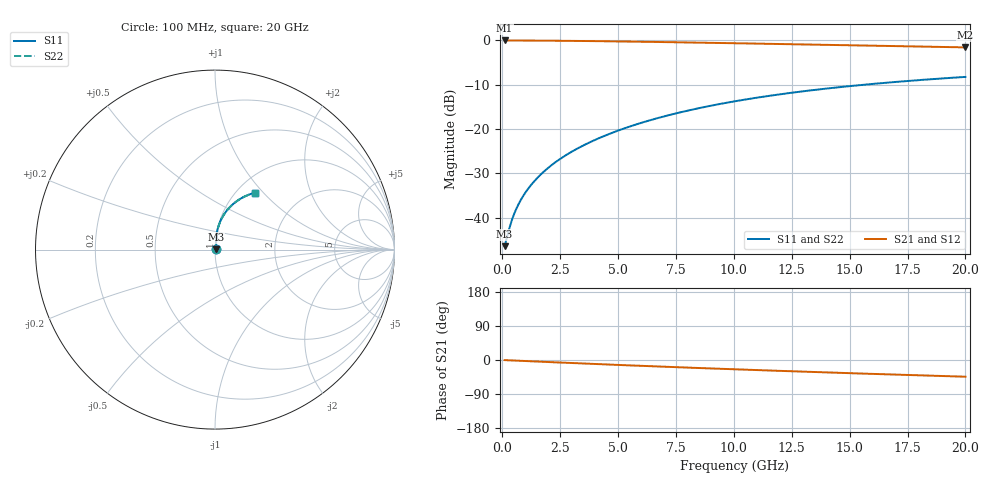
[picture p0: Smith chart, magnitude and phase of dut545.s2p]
! Touchstone file exported from HFSS 2024.1.0
!  File:  C:/UserFiles/LocalFiles/RDL_TSV_Batchsim/temp_RDL_bottom_545_1779689105.aedt
!  Generated:  02:07:57 PM May 25, 2026
!  Design:  RDL_bottom
!  Project:  temp_RDL_bottom_545_1779689105
!  Setup:  Setup1
!  Solution:  Sweep
! Variables:
!  dtsv = 10.80580581um
!  hbump = 3um
!  htsv = 91.96um
!  ldown = 595.62um
!  lrdl = 100um
!  p = 40
!  p1 = 56.54um
!  rhole = 1um
!  t = 450um
!  tdown = 2.04um
!  trdl = 3.915915916um
!  wdown = 26.02um
!  wrdl = 20um
# GHz S MA R 50.000000
! Terminal data exported
! Port[1] = RDL1_T1
! Port[2] = RDL1_T2
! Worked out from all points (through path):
!   200 points, 100 MHz to 20 GHz, reference 50 ohm
!   highest |S21| = -0.04 dB at 100 MHz (marker M1); lowest = -1.6 dB at 20 GHz (marker M2)
!   group delay of S21, straight-line fit = 6.07 ps
!   lowest |S11| = -46.4 dB at 100 MHz (marker M3), VSWR 1.01, Z = 50.4 + j0.205 ohm
!   |S11| at or under -10 dB: start of sweep to 15.64 GHz
!   |S22| runs from -46.4 to -8.3 dB; largest |S21 - S12| = 1.2e-14
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0.1  0.004798 25.1  0.9956 -0.3  0.9956 -0.3  0.004798 25.1
! Gamma 0 0 0 0
! Port Impedance 50 0 50 0
0.3  0.007555 52.2  0.9953 -0.8  0.9953 -0.8  0.007555 52.2
0.4  0.0092 58.5  0.995 -1.1  0.995 -1.1  0.009201 58.5
0.5  0.01087 62.8  0.9948 -1.4  0.9948 -1.4  0.01088 62.8
0.6  0.01255 65.9  0.9945 -1.7  0.9945 -1.7  0.01255 65.9
0.7  0.01423 68.4  0.9942 -1.9  0.9942 -1.9  0.01423 68.3
0.9  0.01761 72.0  0.9937 -2.5  0.9937 -2.5  0.01761 72.0
1.2  0.02273 75.7  0.9928 -3.3  0.9928 -3.3  0.02273 75.6
1.7  0.03151 79.3  0.9912 -4.6  0.9912 -4.6  0.03151 79.3
2.2  0.04057 81.5  0.9892 -5.9  0.9892 -5.9  0.04056 81.4
2.8  0.05181 82.9  0.9862 -7.5  0.9862 -7.5  0.0518 82.9
3.5  0.0654 83.7  0.9821 -9.3  0.9821 -9.3  0.06539 83.6
4.2  0.07949 83.8  0.9774 -11.0  0.9774 -11.0  0.07946 83.8
5  0.0961 83.5  0.9714 -13.0  0.9714 -13.0  0.09607 83.4
5.9  0.1153 82.6  0.9641 -15.2  0.9641 -15.2  0.1153 82.6
6.8  0.1349 81.4  0.9564 -17.3  0.9564 -17.3  0.1348 81.3
8.4  0.17 78.6  0.942 -21.0  0.942 -21.0  0.1699 78.5
10.1  0.2068 75.2  0.9262 -24.7  0.9262 -24.7  0.2067 75.1
11.7  0.2404 71.8  0.9109 -28.1  0.9109 -28.1  0.2402 71.7
13.4  0.2744 68.2  0.8946 -31.6  0.8946 -31.6  0.2742 68.1
16.7  0.3346 61.4  0.8629 -38.0  0.8629 -38.0  0.3343 61.3
20  0.3868 55.0  0.8319 -44.1  0.8319 -44.1  0.3864 54.9
